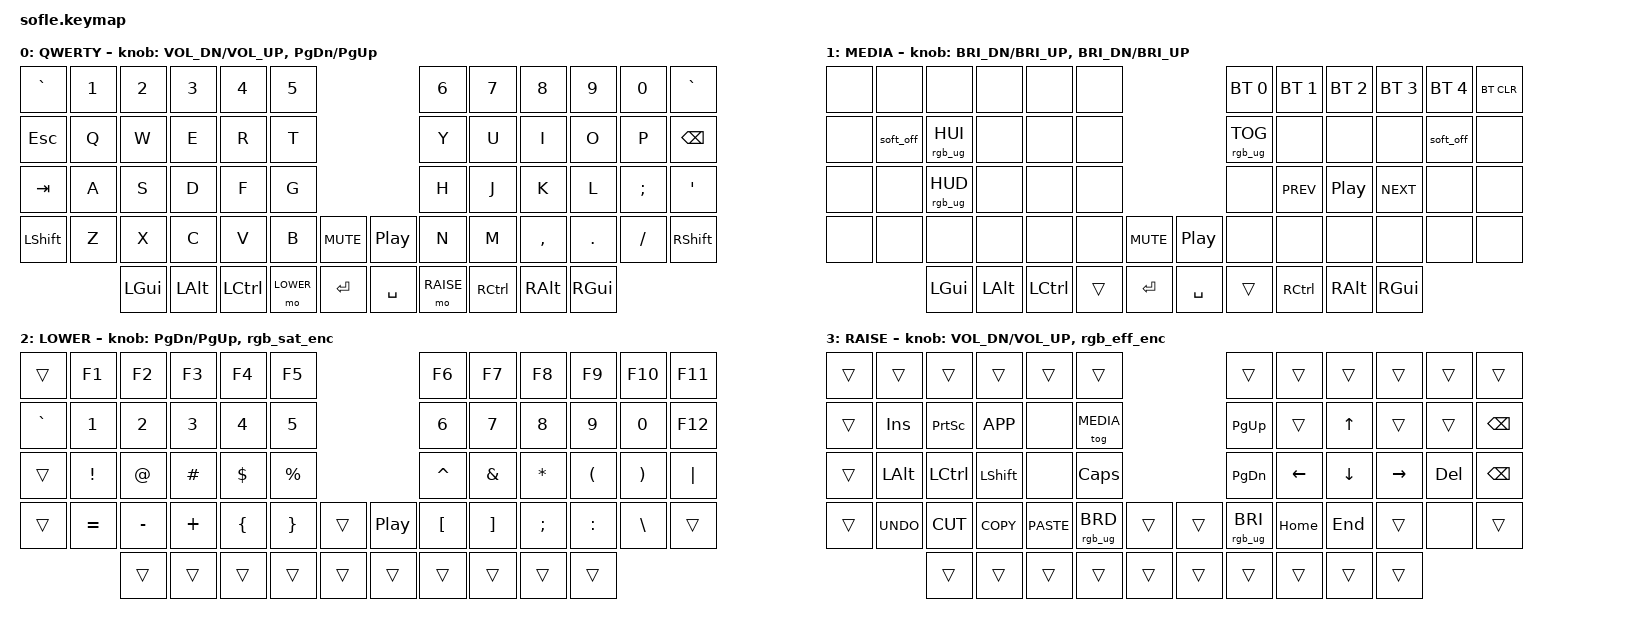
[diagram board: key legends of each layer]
/*
 * Copyright (c) 2020 The ZMK Contributors
 * SPDX-License-Identifier: MIT
 *
 * Sofle RGB keymap - replicated from sofle_v1.layout.json (VIA)
 * 4 layers: QWERTY (0), MEDIA (1), LOWER (2), RAISE (3)
 */

#include <behaviors.dtsi>
#include <dt-bindings/zmk/keys.h>
#include <dt-bindings/zmk/bt.h>
#include <dt-bindings/zmk/rgb.h>

#define QWERTY 0
#define MEDIA  1
#define LOWER  2
#define RAISE  3

/ {
    behaviors {
        // Custom sensor behaviors to drive RGB via encoder rotation
        rgb_sat_enc: rgb_sat_enc {
            compatible = "zmk,behavior-sensor-rotate";
            #sensor-binding-cells = <0>;
            bindings = <&rgb_ug RGB_SAI>, <&rgb_ug RGB_SAD>;
        };
        rgb_val_enc: rgb_val_enc {
            compatible = "zmk,behavior-sensor-rotate";
            #sensor-binding-cells = <0>;
            bindings = <&rgb_ug RGB_BRI>, <&rgb_ug RGB_BRD>;
        };
        rgb_eff_enc: rgb_eff_enc {
            compatible = "zmk,behavior-sensor-rotate";
            #sensor-binding-cells = <0>;
            bindings = <&rgb_ug RGB_EFF>, <&rgb_ug RGB_EFR>;
        };
    };

    keymap {
        compatible = "zmk,keymap";

        qwerty_layer {
            display-name = "QWERTY";
            // ,-----------------------------------------.                    ,-----------------------------------------.
            // |  `   |   1  |   2  |   3  |   4  |   5  |                    |   6  |   7  |   8  |   9  |   0  |  `   |
            // | ESC  |   Q  |   W  |   E  |   R  |   T  |                    |   Y  |   U  |   I  |   O  |   P  | Bspc |
            // | Tab  |   A  |   S  |   D  |   F  |   G  |                    |   H  |   J  |   K  |   L  |   ;  |  '   |
            // |LShift|   Z  |   X  |   C  |   V  |   B  | MUTE |    | C_PP  |   N  |   M  |   ,  |   .  |   /  |RShift|
            //               | LGUI | LAlt | LCtl |LOWER | Enter|    |SPACE  |RAISE | RCtl | RAlt | RGUI |
            bindings = <
                &kp GRAVE  &kp N1  &kp N2    &kp N3     &kp N4   &kp N5                         &kp N6     &kp N7     &kp N8    &kp N9    &kp N0   &kp GRAVE
                &kp ESC    &kp Q   &kp W     &kp E      &kp R    &kp T                          &kp Y      &kp U      &kp I     &kp O     &kp P    &kp BSPC
                &kp TAB    &kp A   &kp S     &kp D      &kp F    &kp G                          &kp H      &kp J      &kp K     &kp L     &kp SEMI &kp SQT
                &kp LSHFT  &kp Z   &kp X     &kp C      &kp V    &kp B       &kp C_MUTE &kp C_PP &kp N     &kp M      &kp COMMA &kp DOT   &kp FSLH &kp RSHFT
                                   &kp LGUI  &kp LALT   &kp LCTRL &mo LOWER  &kp RET    &kp SPACE &mo RAISE &kp RCTRL  &kp RALT  &kp RGUI
            >;

            sensor-bindings = <&inc_dec_kp C_VOL_DN C_VOL_UP &inc_dec_kp PG_DN PG_UP>;
        };

        media_layer {
            display-name = "MEDIA";
            // ,-----------------------------------------.                    ,-----------------------------------------.
            // |      |      |      |      |      |      |                    | BT0  | BT1  | BT2  | BT3  | BT4  |BTCLR |
            // |      |      |      |      |      |      |                    |      |      |      |      |      |      |
            // |      |      |      |      |      |      |                    |      | Prev | Play | Next |      |      |
            // |      |      |      |      |      |      | MUTE |    | C_PP  |      |      |      |      |      |      |
            //               | LGUI | LAlt | LCtl |      | Enter|    |SPACE  |      | RCtl | RAlt | RGUI |
            bindings = <
                &none      &none   &none     &none      &none    &none                          &bt BT_SEL 0 &bt BT_SEL 1 &bt BT_SEL 2 &bt BT_SEL 3 &bt BT_SEL 4 &bt BT_CLR
                &none      &soft_off &rgb_ug RGB_HUI &none &none    &none                          &rgb_ug RGB_TOG &none      &none     &none     &soft_off &none
                &none      &none   &rgb_ug RGB_HUD &none &none    &none                          &none      &kp C_PREV &kp C_PP  &kp C_NEXT &none    &none
                &none      &none   &none     &none      &none    &none       &kp C_MUTE &kp C_PP &none     &none      &none     &none     &none    &none
                                   &kp LGUI  &kp LALT   &kp LCTRL &trans     &kp RET    &kp SPACE &trans    &kp RCTRL  &kp RALT  &kp RGUI
            >;

            sensor-bindings = <&inc_dec_kp C_BRI_DN C_BRI_UP &inc_dec_kp C_BRI_DN C_BRI_UP>;
        };

        lower_layer {
            display-name = "LOWER";
            // ,-----------------------------------------.                    ,-----------------------------------------.
            // |      |  F1  |  F2  |  F3  |  F4  |  F5  |                    |  F6  |  F7  |  F8  |  F9  | F10  | F11  |
            // |  `   |   1  |   2  |   3  |   4  |   5  |                    |   6  |   7  |   8  |   9  |   0  | F12  |
            // |      |   !  |   @  |   #  |   $  |   %  |                    |   ^  |   &  |   *  |   (  |   )  |  |   |
            // |      |   =  |   -  |   +  |   {  |   }  |      |    | C_PP  |   [  |   ]  |   ;  |   :  |   \  |      |
            //               |      |      |      |      |      |    |       |      |      |      |      |
            bindings = <
                &trans     &kp F1    &kp F2    &kp F3    &kp F4   &kp F5                         &kp F6    &kp F7    &kp F8    &kp F9    &kp F10  &kp F11
                &kp GRAVE  &kp N1    &kp N2    &kp N3    &kp N4   &kp N5                         &kp N6    &kp N7    &kp N8    &kp N9    &kp N0   &kp F12
                &trans     &kp EXCL  &kp AT    &kp HASH  &kp DLLR &kp PRCNT                      &kp CARET &kp AMPS  &kp ASTRK &kp LPAR  &kp RPAR &kp PIPE
                &trans     &kp EQUAL &kp MINUS &kp PLUS  &kp LBRC &kp RBRC    &trans    &kp C_PP &kp LBKT  &kp RBKT  &kp SEMI  &kp COLON &kp BSLH &trans
                                     &trans    &trans    &trans   &trans      &trans    &trans   &trans    &trans    &trans    &trans
            >;

            sensor-bindings = <&inc_dec_kp PG_DN PG_UP &rgb_sat_enc>;
        };

        raise_layer {
            display-name = "RAISE";
            // ,-----------------------------------------.                    ,-----------------------------------------.
            // |      |      |      |      |      |      |                    |      |      |      |      |      |      |
            // |      | Ins  | Pscr | Menu |      |TG MED|                    | PgUp |      |  Up  |      |      | Bspc |
            // |      | LAlt | LCtl |LShift|      | Caps |                    | PgDn | Left | Down | Right|  Del | Bspc |
            // |      | Undo |  Cut | Copy | Paste| V-   |      |    |       | V+   | Home | End  |      |      |      |
            //               |      |      |      |      |      |    |       |      |      |      |      |
            bindings = <
                &trans     &trans      &trans    &trans     &trans    &trans                           &trans    &trans    &trans    &trans     &trans   &trans
                &trans     &kp INS     &kp PSCRN &kp K_APP  &none     &tog MEDIA                       &kp PG_UP &trans    &kp UP    &trans     &trans   &kp BSPC
                &trans     &kp LALT    &kp LCTRL &kp LSHFT  &none     &kp CAPS                         &kp PG_DN &kp LEFT  &kp DOWN  &kp RIGHT  &kp DEL  &kp BSPC
                &trans     &kp K_UNDO  &kp K_CUT &kp K_COPY &kp K_PASTE &rgb_ug RGB_BRD &trans &trans  &rgb_ug RGB_BRI &kp HOME &kp END &trans    &none    &trans
                                       &trans    &trans     &trans    &trans       &trans   &trans    &trans    &trans    &trans    &trans
            >;

            sensor-bindings = <&inc_dec_kp C_VOL_DN C_VOL_UP &rgb_eff_enc>;
        };
    };
};
